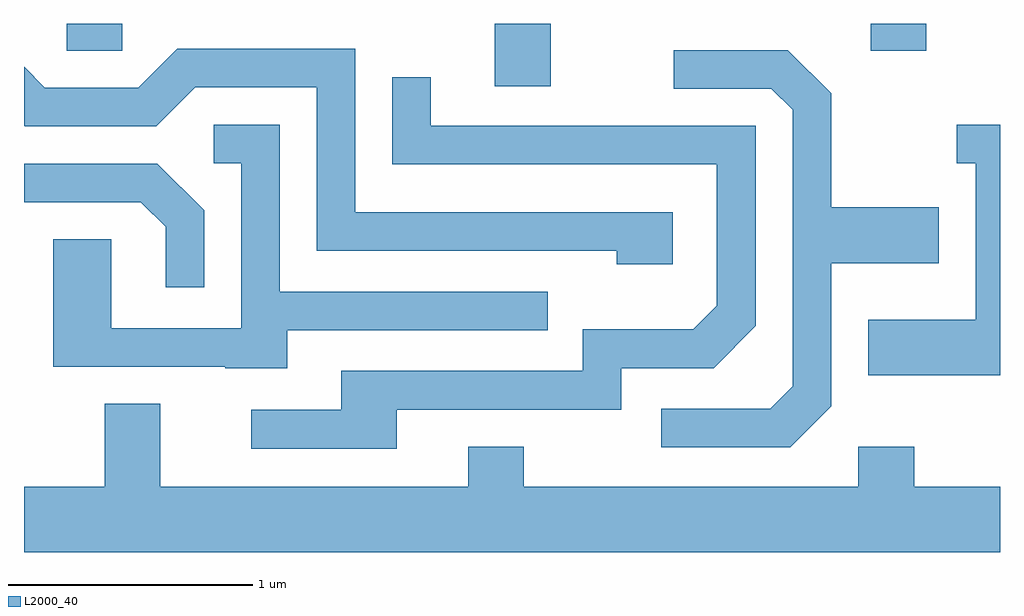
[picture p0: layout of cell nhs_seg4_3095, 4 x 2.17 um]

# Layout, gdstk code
import gdstk
lib = gdstk.Library(unit=1e-6, precision=1e-09)
def R(c, l, rs):  # rectangles x0, y0, x1, y1
    for r in rs: c.add(gdstk.rectangle(r[:2], r[2:], *l))
def P(c, l, *ps):  # polygons
    for p in ps: c.add(gdstk.Polygon(p, *l))
L2000_40 = (2000, 40)

nhs_seg4_3095 = lib.new_cell('nhs_seg4_3095')
R(nhs_seg4_3095, L2000_40, [(277.541,1327.726,277.769,1327.982), (275.786,1327.871,276.014,1327.982), (279.081,1327.871,279.309,1327.982)])
P(nhs_seg4_3095, L2000_40, [(278.269,1327.209),(276.969,1327.209),(276.969,1327.879),(276.239,1327.879),(276.079,1327.719),(275.697,1327.719),(275.611,1327.805),(275.611,1327.564),(275.614,1327.561),(276.152,1327.561),(276.312,1327.721),(276.811,1327.721),(276.811,1327.051),(278.041,1327.051),(278.041,1326.996),(278.269,1326.996)],
  [(278.919,1326.414),(278.919,1327.001),(279.359,1327.001),(279.359,1327.229),(278.919,1327.229),(278.919,1327.697),(278.742,1327.874),(278.273,1327.874),(278.273,1327.716),(278.674,1327.716),(278.761,1327.629),(278.761,1326.497),(278.669,1326.404),(278.223,1326.404),(278.223,1326.246),(278.752,1326.246)],
  [(277.139,1326.401),(278.059,1326.401),(278.059,1326.571),(278.437,1326.571),(278.609,1326.744),(278.609,1327.564),(277.279,1327.564),(277.279,1327.763),(277.121,1327.763),(277.121,1327.406),(278.451,1327.406),(278.451,1326.827),(278.354,1326.729),(277.901,1326.729),(277.901,1326.559),(276.911,1326.559),(276.911,1326.399),(276.543,1326.399),(276.543,1326.241),(277.139,1326.241)],
  [(276.689,1326.726),(277.758,1326.726),(277.758,1326.884),(276.659,1326.884),(276.659,1327.569),(276.388,1327.569),(276.388,1327.411),(276.501,1327.411),(276.501,1326.734),(275.969,1326.734),(275.969,1327.099),(275.731,1327.099),(275.731,1326.576),(276.435,1326.576),(276.435,1326.571),(276.689,1326.571)],
  [(279.611,1327.569),(279.433,1327.569),(279.433,1327.411),(279.511,1327.411),(279.511,1326.769),(279.071,1326.769),(279.071,1326.541),(279.611,1326.541)],
  [(276.349,1327.217),(276.157,1327.409),(275.611,1327.409),(275.611,1327.251),(276.089,1327.251),(276.191,1327.149),(276.191,1326.903),(276.349,1326.903)],
  [(279.611,1326.084),(279.259,1326.084),(279.259,1326.249),(279.031,1326.249),(279.031,1326.084),(277.659,1326.084),(277.659,1326.249),(277.431,1326.249),(277.431,1326.084),(276.169,1326.084),(276.169,1326.424),(275.941,1326.424),(275.941,1326.084),(275.611,1326.084),(275.611,1325.816),(279.611,1325.816)])

lib.write_gds('nhs_seg4_3095.gds')
